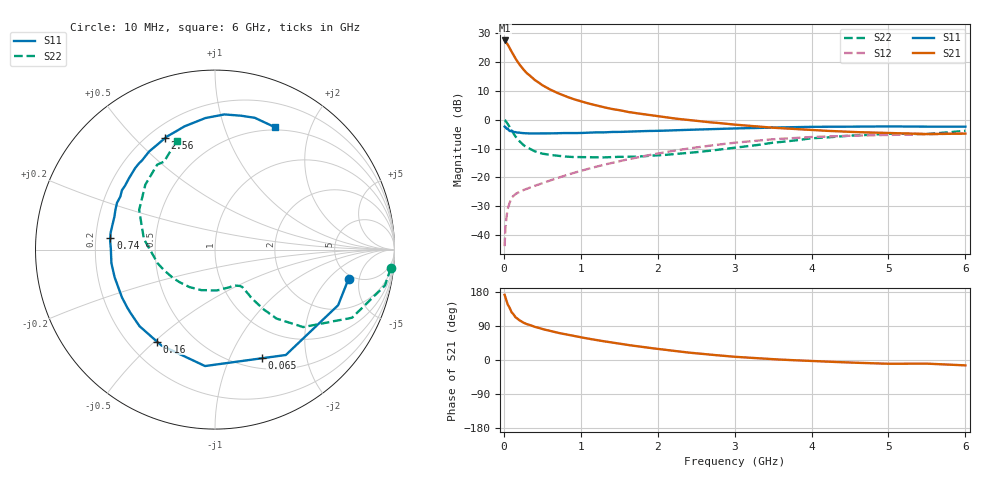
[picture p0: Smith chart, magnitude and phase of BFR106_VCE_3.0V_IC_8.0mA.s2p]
! Infineon Technologies  Discrete & RF Semiconductors
! BFR106
! VCE =  3.0 V,  IC =  8.0 mA
! Common Emitter S-Parameters:  Nov 2015
# GHz  S  MA  R  50
!  f  S11  S21  S12  S22
! GHz  MAG  ANG  MAG  ANG  MAG  ANG  MAG  ANG
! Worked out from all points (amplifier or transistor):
!   210 points, 10 MHz to 6 GHz, reference 50 ohm
!   highest |S21| = 27.5 dB at 10 MHz (marker M1)
!   |S21| within 3 dB of that: start of sweep to 81.87 MHz
!   unconditionally stable (mu >= 1): 519.1 MHz to 2.132 GHz; 4.803 GHz to end of sweep
!   at 185 MHz: K = 0.50, MSG = 22.6 dB, |S12| = -25.3 dB
!   at 1.52 GHz: K = 1.09, MAG = 6.9 dB, |S12| = -14.3 dB
!   at 6 GHz: K = 1.02, MAG = -0.9 dB, |S12| = -4.7 dB
!   S11 on the Smith chart (normalised r, x): 10 MHz: 4.58, -3.54; 65 MHz: 0.62, -1.32; 160 MHz: 0.31, -0.51; 740 MHz: 0.26, +0.05; 2.56 GHz: 0.27, +0.62; 6 GHz: 0.46, +1.50
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0.01  0.7618 -12.3  23.82 172.0  0.0064 84.0  0.9848 -6.0
0.02  0.7528 -24.3  23.18 165.6  0.0131 77.3  0.9679 -11.9
0.05  0.7075 -56.1  20.3 146.6  0.0283 64.2  0.8531 -26.4
0.065  0.6589 -66.8  18.59 141.7  0.0329 58.9  0.7884 -30.1
0.1  0.6511 -94.9  15.32 126.2  0.0443 50.9  0.654 -41.3
0.15  0.612 -119.2  11.57 113.0  0.0512 44.7  0.5145 -48.3
0.16  0.606 -122.2  11.09 111.7  0.0521 44.3  0.4972 -48.7
0.2  0.5991 -134.6  9.257 105.1  0.0558 42.8  0.4283 -50.9
0.24  0.5883 -143.1  7.906 100.3  0.0592 42.8  0.3792 -52.0
0.3  0.5827 -152.9  6.42 94.6  0.0634 44.1  0.3327 -53.0
0.4  0.5801 -164.6  4.935 87.6  0.0713 46.7  0.2844 -53.3
0.5  0.5821 -172.5  3.985 81.7  0.0789 50.0  0.2584 -53.9
0.6  0.5795 -179.4  3.358 76.5  0.0883 52.4  0.246 -55.5
0.74  0.5869 173.5  2.768 70.3  0.1017 55.3  0.2344 -59.1
1.02  0.5913 161.0  2.055 59.3  0.1319 58.8  0.2251 -67.8
1.4  0.615 147.5  1.546 46.4  0.1777 59.6  0.2262 -83.7
2.02  0.6432 128.8  1.141 28.7  0.2622 55.3  0.2421 -115.3
2.56  0.6808 114.1  0.938 16.5  0.3391 48.3  0.2789 -144.2
3.1  0.711 102.0  0.804 7.3  0.4107 39.4  0.338 -171.5
4.1  0.755 84.6  0.653 -3.5  0.5071 21.8  0.4847 149.1
5.1  0.765 72.1  0.586 -9.8  0.5485 7.0  0.571 123.4
6  0.7593 64.0  0.575 -14.2  0.5839 -3.6  0.6429 109.4
